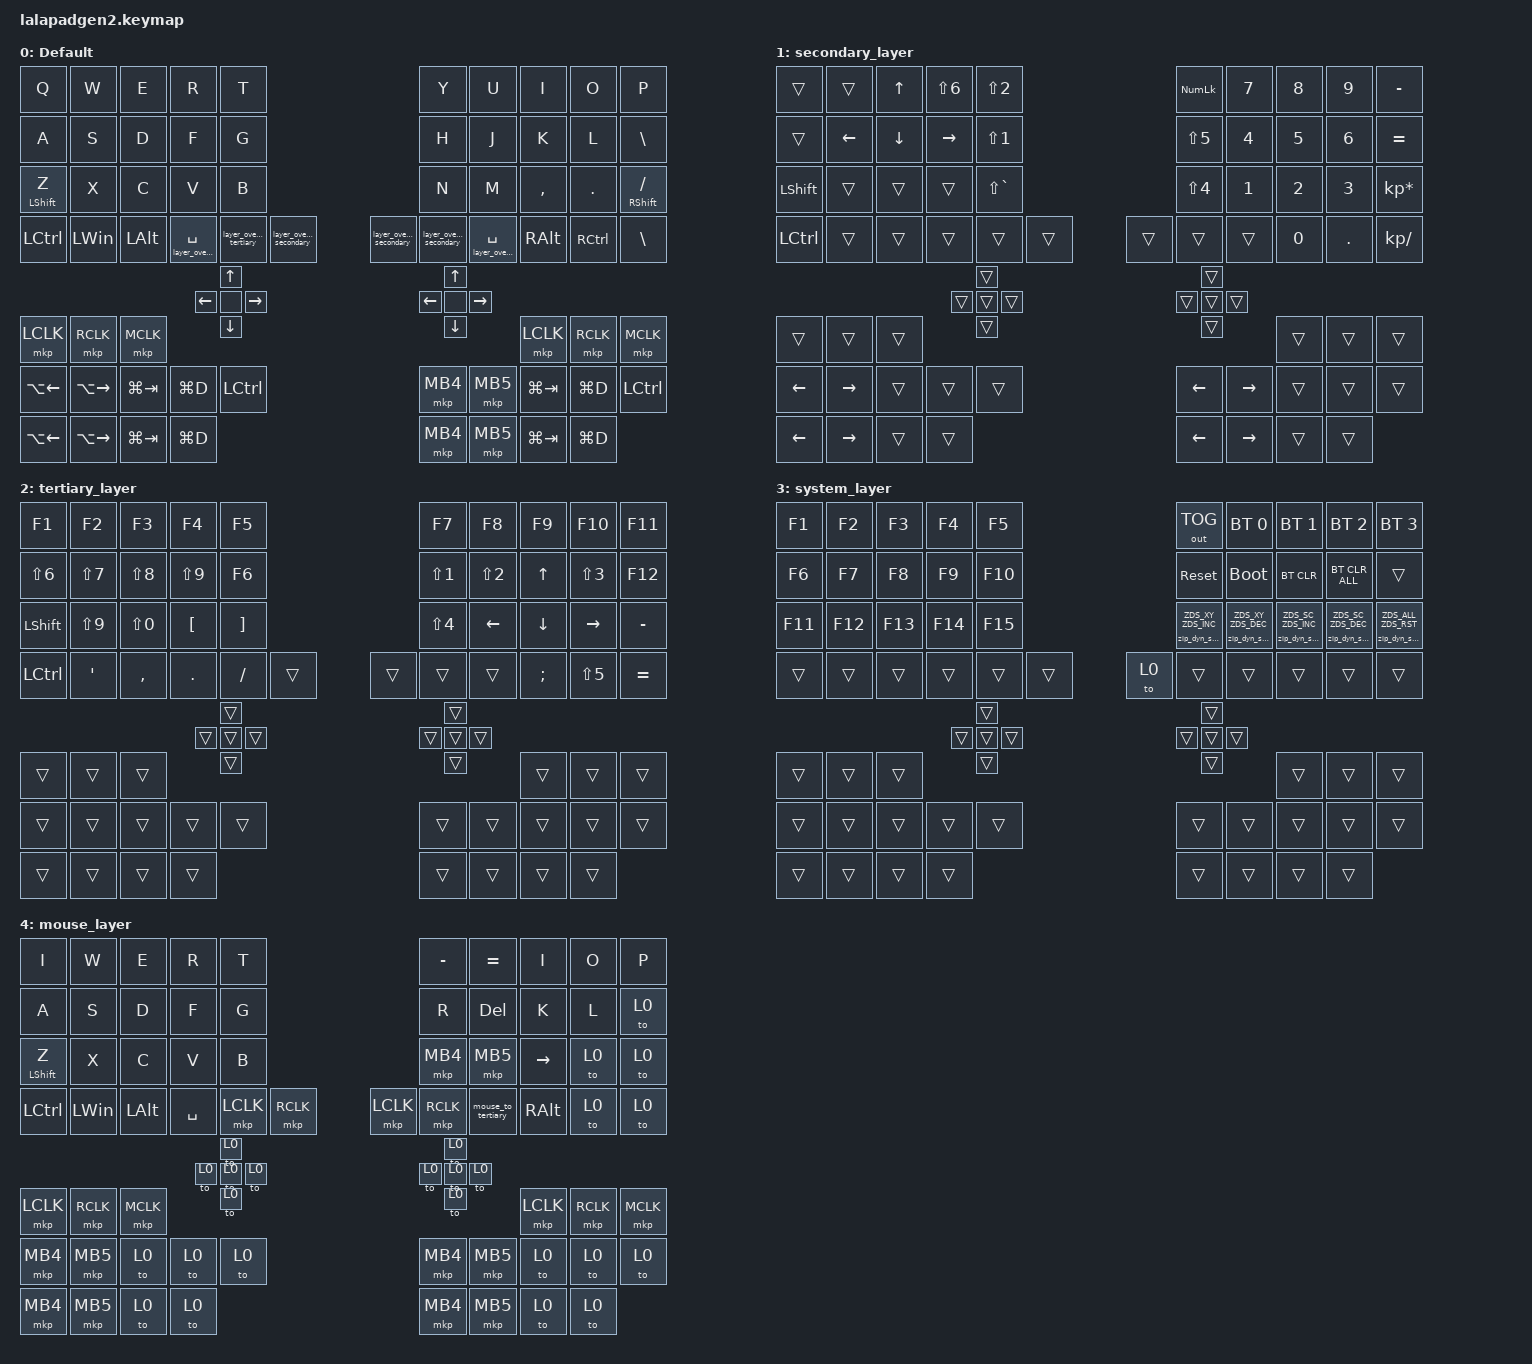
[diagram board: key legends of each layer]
#include <input/processors.dtsi>
#include <dt-bindings/zmk/zip_dynamic_scale.h>
#include <behaviors.dtsi>
#include <dt-bindings/zmk/bt.h>
#include <dt-bindings/zmk/keys.h>
#include <dt-bindings/zmk/outputs.h>
#include <dt-bindings/zmk/pointing.h>

#define DEFAULT_LAYER   0
#define SECONDARY_LAYER 1
#define TERTIARY_LAYER  2
#define SYSTEM_LAYER    3
#define MOUSE_LAYER     4

&mt { quick-tap-ms = <200>; };

&lt { quick-tap-ms = <200>; };

/ {
    behaviors {
        zip_dyn_scale: zip_dyn_scale {
            compatible = "zmk,behavior-zip-dynamic-scale";
            #binding-cells = <2>;
        };

        zip_dyn_scale_set: zip_dyn_scale_set {
            compatible = "zmk,behavior-zip-dynamic-scale-set";
            #binding-cells = <2>;
        };

        mt2: mod_tap2 {
            compatible = "zmk,behavior-hold-tap";
            #binding-cells = <2>;
            flavor = "tap-preferred";
            tapping-term-ms = <300>;
            quick-tap-ms = <200>;
            require-prior-idle-ms = <125>;
            bindings = <&kp>, <&kp>;
        };


        layer_overlay_secondary: layer_overlay_secondary {
            compatible = "zmk,behavior-macro";
            #binding-cells = <0>;
            wait-ms = <0>;
            tap-ms = <0>;
            bindings = <&macro_press &kp F16>, <&macro_press &mo 1>, <&macro_pause_for_release>, <&macro_release &mo 1>, <&macro_release &kp F16>;
        };

        layer_overlay_tertiary: layer_overlay_tertiary {
            compatible = "zmk,behavior-macro";
            #binding-cells = <0>;
            wait-ms = <0>;
            tap-ms = <0>;
            bindings = <&macro_press &kp F14>, <&macro_press &mo 2>, <&macro_pause_for_release>, <&macro_release &mo 2>, <&macro_release &kp F14>;
        };

        mouse_to_tertiary: mouse_to_tertiary {
            compatible = "zmk,behavior-macro";
            #binding-cells = <0>;
            wait-ms = <0>;
            tap-ms = <0>;
            bindings = <&macro_tap &to 0>, <&macro_press &kp F14>, <&macro_press &mo 2>, <&macro_pause_for_release>, <&macro_release &mo 2>, <&macro_release &kp F14>;
        };

        layer_overlay_secondary_space: layer_overlay_secondary_space {
            compatible = "zmk,behavior-hold-tap";
            #binding-cells = <2>;
            flavor = "balanced";
            tapping-term-ms = <200>;
            quick-tap-ms = <200>;
            bindings = <&layer_overlay_secondary>, <&kp>;
        };

        layer_overlay_tertiary_space: layer_overlay_tertiary_space {
            compatible = "zmk,behavior-hold-tap";
            #binding-cells = <2>;
            flavor = "balanced";
            tapping-term-ms = <200>;
            quick-tap-ms = <200>;
            bindings = <&layer_overlay_tertiary>, <&kp>;
        };

        tap_dance_layer_1and2: tap_dance_layer_1and2 {
            compatible = "zmk,behavior-tap-dance";
            label = "td_mo12";
            #binding-cells = <0>;
            bindings = <&layer_overlay_secondary>, <&layer_overlay_tertiary>;
        };

        /* REMAP_LALAPAD_TD_BEGIN */
        td0: td0 {
            compatible = "zmk,behavior-tap-dance-triple";
            #binding-cells = <0>;
            tapping-term-ms = <200>;
            bindings = <&kp LANGUAGE_1>, <&kp LEFT_ALT>, <&trans>;
        };

        td1: td1 {
            compatible = "zmk,behavior-tap-dance-triple";
            #binding-cells = <0>;
            tapping-term-ms = <200>;
            bindings = <&kp LANGUAGE_2>, <&kp RIGHT_ALT>, <&trans>;
        };

        td2: td2 {
            compatible = "zmk,behavior-tap-dance-triple";
            #binding-cells = <0>;
            tapping-term-ms = <200>;
            bindings = <&kp SLASH>, <&kp RIGHT_SHIFT>, <&trans>;
        };

        td3: td3 {
            compatible = "zmk,behavior-tap-dance-triple";
            #binding-cells = <0>;
            tapping-term-ms = <200>;
            bindings = <&kp BACKSLASH>, <&kp ENTER>, <&trans>;
        };

        td4: td4 {
            compatible = "zmk,behavior-tap-dance-triple";
            #binding-cells = <0>;
            tapping-term-ms = <200>;
            bindings = <&kp P>, <&kp EQUAL>, <&trans>;
        };

        td5: td5 {
            compatible = "zmk,behavior-tap-dance-triple";
            #binding-cells = <0>;
            tapping-term-ms = <200>;
            bindings = <&kp O>, <&kp MINUS>, <&trans>;
        };

        td6: td6 {
            compatible = "zmk,behavior-tap-dance-triple";
            #binding-cells = <0>;
            tapping-term-ms = <200>;
            bindings = <&kp K>, <&kp LEFT_BRACKET>, <&trans>;
        };

        td7: td7 {
            compatible = "zmk,behavior-tap-dance-triple";
            #binding-cells = <0>;
            tapping-term-ms = <200>;
            bindings = <&kp L>, <&kp RIGHT_BRACKET>, <&trans>;
        };

        td8: td8 {
            compatible = "zmk,behavior-tap-dance-triple";
            #binding-cells = <0>;
            tapping-term-ms = <200>;
            bindings = <&kp COMMA>, <&kp SEMI>, <&trans>;
        };

        td9: td9 {
            compatible = "zmk,behavior-tap-dance-triple";
            #binding-cells = <0>;
            tapping-term-ms = <200>;
            bindings = <&kp PERIOD>, <&kp SQT>, <&trans>;
        };
        /* REMAP_LALAPAD_TD_END */
    };

    combos {
        compatible = "zmk,combos";

        CONBO_ESC {
            bindings = <&kp ESCAPE>;
            key-positions = <0 1>;
        };
        COMBO_TAB {
            bindings = <&kp TAB>;
            key-positions = <10 11>;
        };
        COMBO_3 {
            bindings = <&kp BACKSPACE>;
            key-positions = <8 9>;
        };
        COMBO_4 {
            bindings = <&kp F2>;
            key-positions = <1 2>;
        };
        COMBO_5 {
            bindings = <&kp ENTER>;
            key-positions = <18 19>;
        };
        COMBO_6 {
            bindings = <&kp F7>;
            key-positions = <5 6>;
        };
        COMBO_7 {
            bindings = <&kp DELETE>;
            key-positions = <9 19>;
        };
        COMBO_8 {
            bindings = <&kp MINUS>;
            key-positions = <7 8>;
        };
    };

    keymap {
        compatible = "zmk,keymap";

        default_layer {
            display-name = "Default";
            bindings = <
            &kp Q  &kp W  &kp E  &kp R  &kp T  &kp Y  &kp U  &kp I  &kp O  &kp P
            &kp A  &kp S  &kp D  &kp F  &kp G  &kp H  &kp J  &kp K  &kp L  &kp BACKSLASH
            &mt2 LEFT_SHIFT Z  &kp X  &kp C  &kp V  &kp B  &kp N  &kp M  &kp COMMA  &kp PERIOD  &mt2 RIGHT_SHIFT SLASH
            &kp LCTRL  &kp LWIN  &kp LALT  &layer_overlay_secondary_space 0 SPACE  &layer_overlay_tertiary  &layer_overlay_secondary  &layer_overlay_secondary  &layer_overlay_secondary  &layer_overlay_tertiary_space 0 SPACE  &kp RALT  &kp RIGHT_CONTROL  &kp BACKSLASH
            &none  &kp RIGHT  &kp DOWN  &kp LEFT  &kp UP  &kp UP  &kp LEFT  &kp DOWN  &kp RIGHT  &none
            &mkp LCLK  &mkp RCLK  &mkp MCLK  &mkp LCLK  &mkp RCLK  &mkp MCLK
            &kp LA(LEFT)  &kp LA(RIGHT)  &kp LG(TAB)  &kp LG(D)  &kp LCTRL  &mkp MB4  &mkp MB5  &kp LG(TAB)  &kp LG(D)  &kp LCTRL
            &kp LA(LEFT)  &kp LA(RIGHT)  &kp LG(TAB)  &kp LG(D)  &mkp MB4  &mkp MB5  &kp LG(TAB)  &kp LG(D)
            >;
        };

        secondary_layer {
            display-name = "secondary_layer";
            bindings = <
            &trans  &trans  &kp UP  &kp LS(NUMBER_6)  &kp LS(NUMBER_2)  &kp KP_NUMLOCK  &kp NUMBER_7  &kp NUMBER_8  &kp NUMBER_9  &kp MINUS
            &trans  &kp LEFT  &kp DOWN  &kp RIGHT  &kp LS(NUMBER_1)  &kp LS(NUMBER_5)  &kp NUMBER_4  &kp NUMBER_5  &kp NUMBER_6  &kp EQUAL
            &kp LEFT_SHIFT  &trans  &trans  &trans  &kp LS(GRAVE)  &kp LS(NUMBER_4)  &kp NUMBER_1  &kp NUMBER_2  &kp NUMBER_3  &kp KP_ASTERISK
            &kp LEFT_CONTROL  &trans  &trans  &trans  &trans  &trans  &trans  &trans  &trans  &kp NUMBER_0  &kp PERIOD  &kp KP_DIVIDE
            &trans  &trans  &trans  &trans  &trans  &trans  &trans  &trans  &trans  &trans
            &trans  &trans  &trans  &trans  &trans  &trans
            &kp LEFT  &kp RIGHT  &trans  &trans  &trans  &kp LEFT  &kp RIGHT  &trans  &trans  &trans
            &kp LEFT  &kp RIGHT  &trans  &trans  &kp LEFT  &kp RIGHT  &trans  &trans
            >;
        };

        tertiary_layer {
            display-name = "tertiary_layer";
            bindings = <
            &kp F1  &kp F2  &kp F3  &kp F4  &kp F5  &kp F7  &kp F8  &kp F9  &kp F10  &kp F11
            &kp LS(NUMBER_6)  &kp LS(NUMBER_7)  &kp LS(NUMBER_8)  &kp LS(NUMBER_9)  &kp F6  &kp LS(NUMBER_1)  &kp LS(NUMBER_2)  &kp UP  &kp LS(NUMBER_3)  &kp F12
            &kp LEFT_SHIFT  &kp LS(NUMBER_9)  &kp LS(NUMBER_0)  &kp LEFT_BRACKET  &kp RIGHT_BRACKET  &kp LS(NUMBER_4)  &kp LEFT  &kp DOWN  &kp RIGHT  &kp MINUS
            &kp LEFT_CONTROL  &kp SQT  &kp COMMA  &kp PERIOD  &kp SLASH  &trans  &trans  &trans  &trans  &kp SEMI  &kp LS(NUMBER_5)  &kp EQUAL
            &trans  &trans  &trans  &trans  &trans  &trans  &trans  &trans  &trans  &trans
            &trans  &trans  &trans  &trans  &trans  &trans
            &trans  &trans  &trans  &trans  &trans  &trans  &trans  &trans  &trans  &trans
            &trans  &trans  &trans  &trans  &trans  &trans  &trans  &trans
            >;
        };

        system_layer {
            display-name = "system_layer";
            bindings = <
            &kp F1  &kp F2  &kp F3  &kp F4  &kp F5  &out OUT_TOG  &bt BT_SEL 0  &bt BT_SEL 1  &bt BT_SEL 2  &bt BT_SEL 3
            &kp F6  &kp F7  &kp F8  &kp F9  &kp F10  &sys_reset  &bootloader  &bt BT_CLR  &bt BT_CLR_ALL  &trans
            &kp F11  &kp F12  &kp F13  &kp F14  &kp F15  &zip_dyn_scale ZDS_XY ZDS_INC  &zip_dyn_scale ZDS_XY ZDS_DEC  &zip_dyn_scale ZDS_SC ZDS_INC  &zip_dyn_scale ZDS_SC ZDS_DEC  &zip_dyn_scale ZDS_ALL ZDS_RST
            &trans  &trans  &trans  &trans  &trans  &trans  &to 0  &trans  &trans  &trans  &trans  &trans
            &trans  &trans  &trans  &trans  &trans  &trans  &trans  &trans  &trans  &trans
            &trans  &trans  &trans  &trans  &trans  &trans
            &trans  &trans  &trans  &trans  &trans  &trans  &trans  &trans  &trans  &trans
            &trans  &trans  &trans  &trans  &trans  &trans  &trans  &trans
            >;
        };

        mouse_layer {
            display-name = "mouse_layer";
            bindings = <
            &kp I  &kp W  &kp E  &kp R  &kp T  &kp MINUS  &kp EQUAL  &kp I  &kp O  &kp P
            &kp A  &kp S  &kp D  &kp F  &kp G  &kp R  &kp DELETE  &kp K  &kp L  &to 0
            &mt2 LEFT_SHIFT Z  &kp X  &kp C  &kp V  &kp B  &mkp MB4  &mkp MB5  &kp RIGHT  &to 0  &to 0
            &kp LEFT_CONTROL  &kp LWIN  &kp LEFT_ALT  &kp SPACE  &mkp LCLK  &mkp RCLK  &mkp LCLK  &mkp RCLK  &mouse_to_tertiary  &kp RIGHT_ALT  &to 0  &to 0
            &to 0  &to 0  &to 0  &to 0  &to 0  &to 0  &to 0  &to 0  &to 0  &to 0
            &mkp LCLK  &mkp RCLK  &mkp MCLK  &mkp LCLK  &mkp RCLK  &mkp MCLK
            &mkp MB4  &mkp MB5  &to 0  &to 0  &to 0  &mkp MB4  &mkp MB5  &to 0  &to 0  &to 0
            &mkp MB4  &mkp MB5  &to 0  &to 0  &mkp MB4  &mkp MB5  &to 0  &to 0
            >;
        };
    };

    conditional_layers {
        compatible = "zmk,conditional-layers";

        Cond_Syslayer {
            if-layers = <1 2>;
            then-layer = <3>;
        };
    };
};
